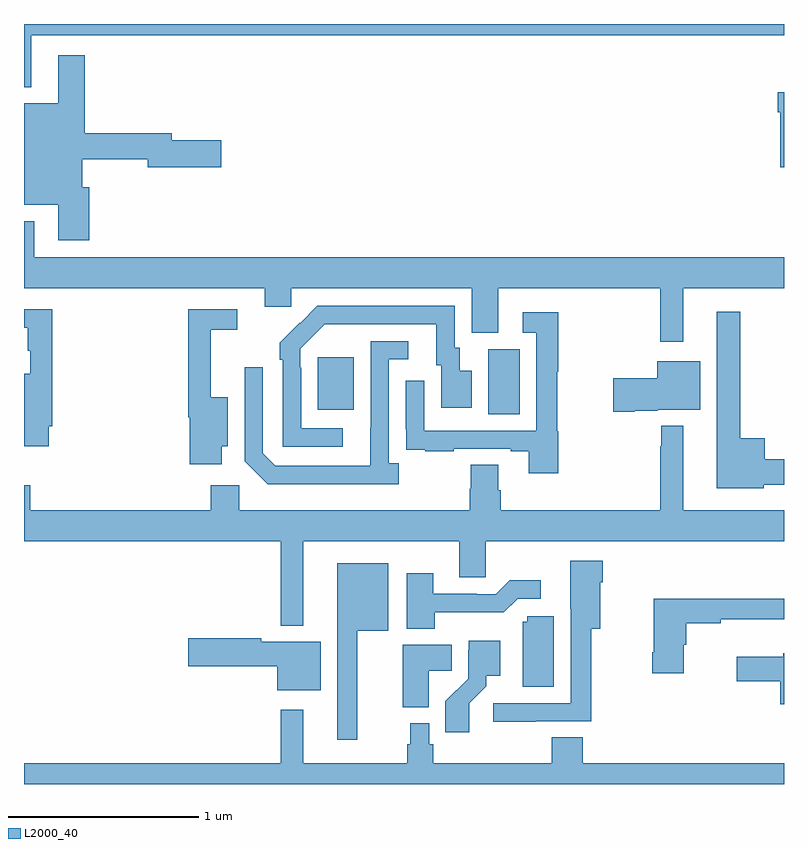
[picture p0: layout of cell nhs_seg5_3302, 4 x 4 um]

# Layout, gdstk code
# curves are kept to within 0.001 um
import gdstk
lib = gdstk.Library(unit=1e-6, precision=1e-09)
def R(c, l, rs):  # rectangles x0, y0, x1, y1
    for r in rs: c.add(gdstk.rectangle(r[:2], r[2:], *l))
def P(c, l, *ps):  # polygons
    for p in ps: c.add(gdstk.Polygon(p, *l))
L2000_40 = (2000, 40)

nhs_seg5_3302 = lib.new_cell('nhs_seg5_3302')
R(nhs_seg5_3302, L2000_40, [(305.444,874.744,305.608,875.088), (304.547,874.769,304.735,875.044)])
P(nhs_seg5_3302, L2000_40, [(303.037,876.74),(307,876.74),(307,876.799),(303,876.799),(303,876.467),(303.037,876.467)],
  [(303.344,875.94),(303.307,875.94),(303.307,876.088),(303.65,876.088),(303.65,876.046),(304.039,876.046),(304.039,876.188),(303.778,876.188),(303.778,876.224),(303.32,876.224),(303.32,876.634),(303.179,876.634),(303.179,876.382),(303,876.382),(303,875.847),(303.179,875.847),(303.179,875.661),(303.344,875.661)],
  [(307,876.439),(306.968,876.439),(306.968,876.335),(306.98,876.335),(306.98,876.044),(307,876.044)],
  [(306.469,875.408),(307,875.408),(307,875.572),(303.055,875.572),(303.055,875.762),(303,875.762),(303,875.408),(304.268,875.408),(304.268,875.31),(304.407,875.31),(304.407,875.408),(305.357,875.408),(305.357,875.173),(305.497,875.173),(305.497,875.408),(306.348,875.408),(306.348,875.127),(306.469,875.127)],
  [(304.678,874.671),(304.458,874.671),(304.458,874.991),(304.455,874.991),(304.455,875.091),(304.584,875.22),(305.171,875.22),(305.171,875.004),(305.195,875.004),(305.195,874.779),(305.356,874.779),(305.356,874.975),(305.293,874.975),(305.293,875.094),(305.268,875.094),(305.268,875.316),(304.544,875.316),(304.347,875.121),(304.347,875.033),(304.362,875.033),(304.362,874.575),(304.678,874.575)],
  [(304.042,874.577),(304.072,874.577),(304.072,874.834),(303.983,874.834),(303.983,875.19),(304.123,875.19),(304.123,875.298),(303.865,875.298),(303.865,874.73),(303.872,874.73),(303.872,874.482),(304.042,874.482)],
  [(303.13,874.681),(303.149,874.681),(303.149,875.298),(303,875.298),(303,875.2),(303.021,875.2),(303.021,875.079),(303.032,875.079),(303.032,874.957),(303,874.957),(303,874.577),(303.13,874.577)],
  [(306.894,874.373),(307,874.373),(307,874.508),(306.898,874.508),(306.898,874.618),(306.769,874.618),(306.769,875.284),(306.647,875.284),(306.647,874.355),(306.894,874.355)],
  [(305.813,874.656),(305.806,874.656),(305.806,874.968),(305.813,874.968),(305.813,875.281),(305.625,875.281),(305.625,875.175),(305.697,875.175),(305.697,874.659),(305.106,874.659),(305.106,874.921),(305.01,874.921),(305.01,874.666),(305.011,874.666),(305.011,874.557),(305.113,874.557),(305.113,874.551),(305.261,874.551),(305.261,874.563),(305.561,874.563),(305.561,874.551),(305.657,874.551),(305.657,874.434),(305.813,874.434)],
  [(304.972,874.486),(304.92,874.486),(304.92,875.034),(305.023,875.034),(305.023,875.13),(304.824,875.13),(304.823,874.473),(304.323,874.473),(304.257,874.539),(304.257,874.993),(304.161,874.993),(304.161,874.497),(304.282,874.376),(304.972,874.376)],
  [(306.214,874.763),(306.336,874.763),(306.336,874.769),(306.559,874.769),(306.559,875.023),(306.332,875.023),(306.332,874.935),(306.102,874.935),(306.102,874.757),(306.214,874.757)],
  [(304.471,874.076),(305.291,874.076),(305.291,873.886),(305.43,873.886),(305.43,874.076),(307,874.076),(307,874.24),(306.469,874.24),(306.469,874.684),(306.355,874.684),(306.355,874.577),(306.348,874.577),(306.348,874.24),(305.51,874.24),(305.51,874.346),(305.497,874.346),(305.497,874.478),(305.35,874.478),(305.35,874.353),(305.345,874.353),(305.345,874.24),(304.134,874.24),(304.134,874.372),(303.983,874.372),(303.983,874.24),(303.032,874.24),(303.032,874.372),(303,874.372),(303,874.076),(304.35,874.076),(304.35,873.632),(304.471,873.632)],
  [(305.693,873.129),(305.986,873.129),(305.986,873.617),(306.034,873.617),(306.034,873.86),(306.047,873.86),(306.047,873.973),(305.876,873.973),(305.876,873.721),(305.877,873.721),(305.877,873.225),(305.469,873.225),(305.469,873.127),(305.693,873.127)],
  [(304.753,873.605),(304.918,873.605),(304.918,873.961),(304.649,873.961),(304.649,873.033),(304.753,873.033)],
  [(305.163,873.702),(305.525,873.702),(305.598,873.774),(305.719,873.774),(305.719,873.871),(305.557,873.871),(305.484,873.798),(305.384,873.798),(305.384,873.801),(305.155,873.801),(305.155,873.907),(305.015,873.907),(305.015,873.617),(305.163,873.617)],
  [(306.472,873.531),(306.485,873.531),(306.485,873.646),(306.668,873.646),(306.668,873.665),(307,873.665),(307,873.775),(306.314,873.775),(306.314,873.493),(306.307,873.493),(306.307,873.381),(306.472,873.381)],
  [(305.788,873.681),(305.649,873.681),(305.649,873.654),(305.624,873.654),(305.624,873.31),(305.788,873.31)],
  [(304.561,873.547),(304.248,873.547),(304.248,873.566),(303.864,873.566),(303.864,873.419),(304.334,873.419),(304.334,873.293),(304.561,873.293)],
  [(305.344,873.223),(305.434,873.313),(305.434,873.368),(305.506,873.368),(305.506,873.553),(305.342,873.553),(305.342,873.504),(305.337,873.504),(305.337,873.353),(305.218,873.234),(305.218,873.072),(305.344,873.072)],
  [(305.131,873.394),(305.252,873.394),(305.252,873.532),(304.994,873.532),(304.994,873.203),(305.131,873.203)],
  [(307,873.487),(306.996,873.487),(306.996,873.469),(306.75,873.469),(306.75,873.34),(306.98,873.34),(306.98,873.218),(307,873.218)],
  [(307,872.908),(305.942,872.908),(305.942,873.044),(305.777,873.044),(305.777,872.908),(305.153,872.908),(305.153,873.009),(305.133,873.009),(305.133,873.118),(305.032,873.118),(305.032,873.009),(305.017,873.009),(305.017,872.908),(304.471,872.908),(304.471,873.19),(304.35,873.19),(304.35,872.908),(303,872.908),(303,872.799),(307,872.799)])

lib.write_gds('nhs_seg5_3302.gds')
